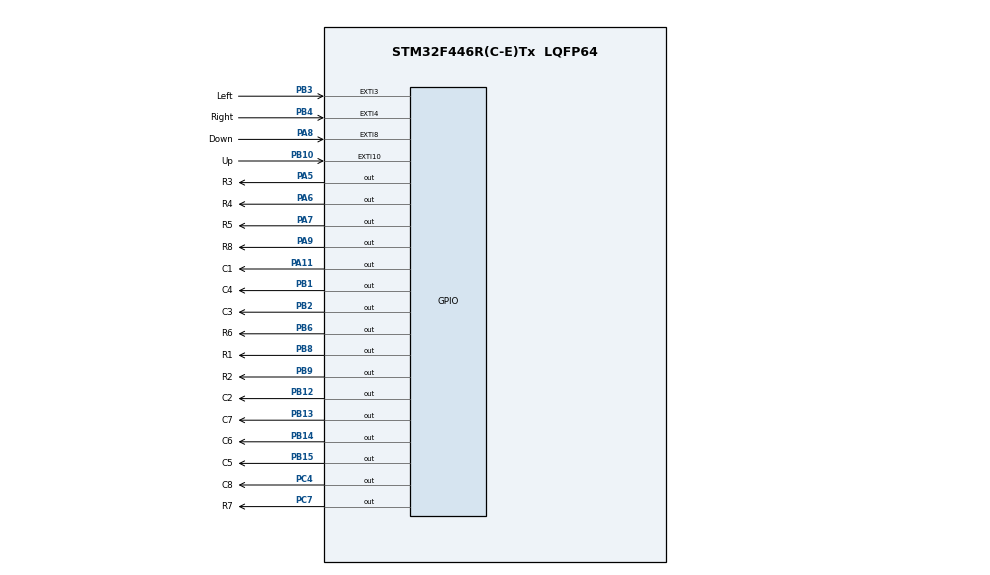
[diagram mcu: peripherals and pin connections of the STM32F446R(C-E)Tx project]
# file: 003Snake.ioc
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Mcu.Family=STM32F4
Mcu.Name=STM32F446R(C-E)Tx
Mcu.Package=LQFP64
NVIC.EXTI15_10_IRQn=true\:0\:0\:false\:false\:true\:true\:true\:true
NVIC.EXTI3_IRQn=true\:0\:0\:false\:false\:true\:true\:true\:true
NVIC.EXTI4_IRQn=true\:0\:0\:false\:false\:true\:true\:true\:true
NVIC.EXTI9_5_IRQn=true\:0\:0\:false\:false\:true\:true\:true\:true
NVIC.PriorityGroup=NVIC_PRIORITYGROUP_4
PA11.GPIO_Label=C1
PA11.Signal=GPIO_Output
PA13.Mode=Serial_Wire
PA13.Signal=SYS_JTMS-SWDIO
PA14.Mode=Serial_Wire
PA14.Signal=SYS_JTCK-SWCLK
PA5.GPIO_Label=R3
PA5.Signal=GPIO_Output
PA6.GPIO_Label=R4
PA6.Signal=GPIO_Output
PA7.GPIO_Label=R5
PA7.Signal=GPIO_Output
PA8.GPIO_Label=Down
PA8.GPIO_PuPd=GPIO_PULLUP
PA8.Signal=GPXTI8
PA9.GPIO_Label=R8
PA9.Signal=GPIO_Output
PB1.GPIO_Label=C4
PB1.Signal=GPIO_Output
PB10.GPIO_Label=Up
PB10.GPIO_PuPd=GPIO_PULLUP
PB10.Signal=GPXTI10
PB12.GPIO_Label=C2
PB12.Signal=GPIO_Output
PB13.GPIO_Label=C7
PB13.Signal=GPIO_Output
PB14.GPIO_Label=C6
PB14.Signal=GPIO_Output
PB15.GPIO_Label=C5
PB15.Signal=GPIO_Output
PB2.GPIO_Label=C3
PB2.Signal=GPIO_Output
PB3.GPIO_Label=Left
PB3.GPIO_PuPd=GPIO_PULLUP
PB3.Signal=GPXTI3
PB4.GPIO_Label=Right
PB4.GPIO_PuPd=GPIO_PULLUP
PB4.Signal=GPXTI4
PB6.GPIO_Label=R6
PB6.Signal=GPIO_Output
PB8.GPIO_Label=R1
PB8.Signal=GPIO_Output
PB9.GPIO_Label=R2
PB9.Signal=GPIO_Output
PC4.GPIO_Label=C8
PC4.Signal=GPIO_Output
PC7.GPIO_Label=R7
PC7.Signal=GPIO_Output
ProjectManager.HeapSize=0x200
ProjectManager.StackSize=0x400
ProjectManager.TargetToolchain=STM32CubeIDE
RCC.CortexFreq_Value=16000000
RCC.USBFreq_Value=96000000
RCC.VCOOutputFreq_Value=192000000
board=custom

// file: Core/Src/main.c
/* USER CODE BEGIN Header */
/**
  ******************************************************************************
  * @file           : main.c (003Snake)
  * @brief          : Main program body
  ******************************************************************************
  * @attention
  *
  * Copyright (c) 2025 STMicroelectronics.
  * All rights reserved.
  *
  * This software is licensed under terms that can be found in the LICENSE file
  * in the root directory of this software component.
  * If no LICENSE file comes with this software, it is provided AS-IS.
  *
  ******************************************************************************
  */
/* USER CODE END Header */
#include "main.h"

/* USER CODE BEGIN Includes */
#include "logic.h"
/* USER CODE END Includes */

void SystemClock_Config(void);
static void MX_GPIO_Init(void);

int main(void)
{

  /* MCU Configuration--------------------------------------------------------*/

  /* Reset of all peripherals, Initializes the Flash interface and the Systick. */
  HAL_Init();

  /* Configure the system clock */
  SystemClock_Config();

  /* Initialize all configured peripherals */
  MX_GPIO_Init();
  /* USER CODE BEGIN 2 */
  setup_snake();
  /* USER CODE END 2 */

  /* Infinite loop */
  while (1)
  {
    run_snake();
  }
}

void SystemClock_Config(void)
{
  RCC_OscInitTypeDef RCC_OscInitStruct = {0};
  RCC_ClkInitTypeDef RCC_ClkInitStruct = {0};

  /** Configure the main internal regulator output voltage
  */
  __HAL_RCC_PWR_CLK_ENABLE();
  __HAL_PWR_VOLTAGESCALING_CONFIG(PWR_REGULATOR_VOLTAGE_SCALE3);

  /** Initializes the RCC Oscillators according to the specified parameters
  * in the RCC_OscInitTypeDef structure.
  */
  RCC_OscInitStruct.OscillatorType = RCC_OSCILLATORTYPE_HSI;
  RCC_OscInitStruct.HSIState = RCC_HSI_ON;
  RCC_OscInitStruct.HSICalibrationValue = RCC_HSICALIBRATION_DEFAULT;
  RCC_OscInitStruct.PLL.PLLState = RCC_PLL_NONE;
  if (HAL_RCC_OscConfig(&RCC_OscInitStruct) != HAL_OK)
  {
    Error_Handler();
  }

  /** Initializes the CPU, AHB and APB buses clocks
  */
  RCC_ClkInitStruct.ClockType = RCC_CLOCKTYPE_HCLK|RCC_CLOCKTYPE_SYSCLK
                              |RCC_CLOCKTYPE_PCLK1|RCC_CLOCKTYPE_PCLK2;
  RCC_ClkInitStruct.SYSCLKSource = RCC_SYSCLKSOURCE_HSI;
  RCC_ClkInitStruct.AHBCLKDivider = RCC_SYSCLK_DIV1;
  RCC_ClkInitStruct.APB1CLKDivider = RCC_HCLK_DIV1;
  RCC_ClkInitStruct.APB2CLKDivider = RCC_HCLK_DIV1;

  if (HAL_RCC_ClockConfig(&RCC_ClkInitStruct, FLASH_LATENCY_0) != HAL_OK)
  {
    Error_Handler();
  }
}

static void MX_GPIO_Init(void)
{
  GPIO_InitTypeDef GPIO_InitStruct = {0};

  /* GPIO Ports Clock Enable */
  __HAL_RCC_GPIOA_CLK_ENABLE();
  __HAL_RCC_GPIOC_CLK_ENABLE();
  __HAL_RCC_GPIOB_CLK_ENABLE();

  /*Configure GPIO pin Output Level */
  HAL_GPIO_WritePin(GPIOA, R3_Pin|R4_Pin|R5_Pin|R8_Pin
                          |C1_Pin, GPIO_PIN_RESET);

  /*Configure GPIO pin Output Level */
  HAL_GPIO_WritePin(GPIOC, C8_Pin|R7_Pin, GPIO_PIN_RESET);

  /*Configure GPIO pin Output Level */
  HAL_GPIO_WritePin(GPIOB, C4_Pin|C3_Pin|C2_Pin|C7_Pin
                          |C6_Pin|C5_Pin|R6_Pin|R1_Pin
                          |R2_Pin, GPIO_PIN_RESET);

  /*Configure GPIO pins : R3_Pin R4_Pin R5_Pin R8_Pin
                           C1_Pin */
  GPIO_InitStruct.Pin = R3_Pin|R4_Pin|R5_Pin|R8_Pin
                          |C1_Pin;
  GPIO_InitStruct.Mode = GPIO_MODE_OUTPUT_PP;
  GPIO_InitStruct.Pull = GPIO_NOPULL;
  GPIO_InitStruct.Speed = GPIO_SPEED_FREQ_LOW;
  HAL_GPIO_Init(GPIOA, &GPIO_InitStruct);

  /*Configure GPIO pins : C8_Pin R7_Pin */
  GPIO_InitStruct.Pin = C8_Pin|R7_Pin;
  GPIO_InitStruct.Mode = GPIO_MODE_OUTPUT_PP;
  GPIO_InitStruct.Pull = GPIO_NOPULL;
  GPIO_InitStruct.Speed = GPIO_SPEED_FREQ_LOW;
  HAL_GPIO_Init(GPIOC, &GPIO_InitStruct);

  /*Configure GPIO pins : C4_Pin C3_Pin C2_Pin C7_Pin
                           C6_Pin C5_Pin R6_Pin R1_Pin
                           R2_Pin */
  GPIO_InitStruct.Pin = C4_Pin|C3_Pin|C2_Pin|C7_Pin
                          |C6_Pin|C5_Pin|R6_Pin|R1_Pin
                          |R2_Pin;
  GPIO_InitStruct.Mode = GPIO_MODE_OUTPUT_PP;
  GPIO_InitStruct.Pull = GPIO_NOPULL;
  GPIO_InitStruct.Speed = GPIO_SPEED_FREQ_LOW;
  HAL_GPIO_Init(GPIOB, &GPIO_InitStruct);

  /*Configure GPIO pins : Up_Pin Left_Pin Right_Pin */
  GPIO_InitStruct.Pin = Up_Pin|Left_Pin|Right_Pin;
  GPIO_InitStruct.Mode = GPIO_MODE_IT_RISING;
  GPIO_InitStruct.Pull = GPIO_PULLUP;
  HAL_GPIO_Init(GPIOB, &GPIO_InitStruct);

  /*Configure GPIO pin : Down_Pin */
  GPIO_InitStruct.Pin = Down_Pin;
  GPIO_InitStruct.Mode = GPIO_MODE_IT_RISING;
  GPIO_InitStruct.Pull = GPIO_PULLUP;
  HAL_GPIO_Init(Down_GPIO_Port, &GPIO_InitStruct);

  /* EXTI interrupt init*/
  HAL_NVIC_SetPriority(EXTI3_IRQn, 0, 0);
  HAL_NVIC_EnableIRQ(EXTI3_IRQn);

  HAL_NVIC_SetPriority(EXTI4_IRQn, 0, 0);
  HAL_NVIC_EnableIRQ(EXTI4_IRQn);

  HAL_NVIC_SetPriority(EXTI9_5_IRQn, 0, 0);
  HAL_NVIC_EnableIRQ(EXTI9_5_IRQn);

  HAL_NVIC_SetPriority(EXTI15_10_IRQn, 0, 0);
  HAL_NVIC_EnableIRQ(EXTI15_10_IRQn);

}

/* USER CODE BEGIN 4 */
void HAL_GPIO_EXTI_Callback(uint16_t GPIO_Pin){
  switch (GPIO_Pin) {
  case Up_Pin: {
	  set_direction(UP);
	  break;
  }
  case Down_Pin: {
	  set_direction(DOWN);
	  break;
    }
  case Right_Pin: {
	  set_direction(RIGHT);
  	  break;
    }
  case Left_Pin: {
	  set_direction(LEFT);
  	  break;
    }
  }
}
/* USER CODE END 4 */

void Error_Handler(void)
{
  __disable_irq();
  while (1)
  {
  }
}
